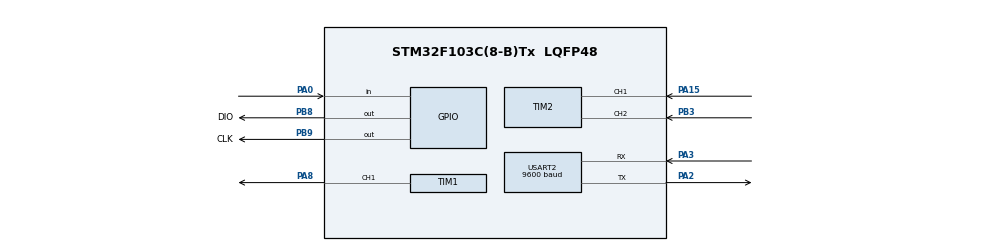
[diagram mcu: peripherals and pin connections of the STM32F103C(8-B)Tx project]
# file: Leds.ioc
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Mcu.Family=STM32F1
Mcu.Name=STM32F103C(8-B)Tx
Mcu.Package=LQFP48
NVIC.PriorityGroup=NVIC_PRIORITYGROUP_4
NVIC.TIM1_CC_IRQn=true\:0\:0\:false\:false\:true\:true\:true
PA0-WKUP.GPIO_PuPd=GPIO_PULLUP
PA0-WKUP.Signal=GPIO_Input
PA13.Mode=Serial_Wire
PA13.Signal=SYS_JTMS-SWDIO
PA14.Mode=Serial_Wire
PA14.Signal=SYS_JTCK-SWCLK
PA15.Signal=S_TIM2_CH1_ETR
PA2.Mode=Asynchronous
PA2.Signal=USART2_TX
PA3.Mode=Asynchronous
PA3.Signal=USART2_RX
PA8.Signal=S_TIM1_CH1
PB3.Signal=S_TIM2_CH2
PB8.GPIO_Label=DIO
PB8.GPIO_ModeDefaultOutputPP=GPIO_MODE_OUTPUT_OD
PB8.GPIO_PuPd=GPIO_PULLUP
PB8.Signal=GPIO_Output
PB9.GPIO_Label=CLK
PB9.GPIO_ModeDefaultOutputPP=GPIO_MODE_OUTPUT_OD
PB9.GPIO_PuPd=GPIO_PULLUP
PB9.Signal=GPIO_Output
PC14-OSC32_IN.Mode=LSE-External-Oscillator
PC14-OSC32_IN.Signal=RCC_OSC32_IN
PC15-OSC32_OUT.Mode=LSE-External-Oscillator
PC15-OSC32_OUT.Signal=RCC_OSC32_OUT
PD0-OSC_IN.Mode=HSE-External-Oscillator
PD0-OSC_IN.Signal=RCC_OSC_IN
PD1-OSC_OUT.Mode=HSE-External-Oscillator
PD1-OSC_OUT.Signal=RCC_OSC_OUT
ProjectManager.HeapSize=0x200
ProjectManager.StackSize=0x400
ProjectManager.TargetToolchain=STM32CubeIDE
RCC.APB1Freq_Value=8000000
RCC.APB2Freq_Value=8000000
RTC.Date=18
RTC.Format=RTC_FORMAT_BIN
RTC.Hours=10
RTC.Minutes=34
RTC.Month=RTC_MONTH_FEBRUARY
RTC.WeekDay=RTC_WEEKDAY_TUESDAY
RTC.Year=21
SH.S_TIM1_CH1.0=TIM1_CH1,PWM Generation1 CH1
SH.S_TIM2_CH1_ETR.0=TIM2_CH1,Encoder_Interface
SH.S_TIM2_CH2.0=TIM2_CH2,Encoder_Interface
TIM1.Channel-PWM\ Generation1\ CH1=TIM_CHANNEL_1
TIM1.Period=6000
TIM2.AutoReloadPreload=TIM_AUTORELOAD_PRELOAD_ENABLE
TIM2.EncoderMode=TIM_ENCODERMODE_TI12
TIM2.IC1Filter=10
TIM2.IC2Filter=10
USART2.BaudRate=9600
USART2.VirtualMode=VM_ASYNC
VP_RTC_VS_RTC_Activate.Mode=RTC_Enabled
VP_RTC_VS_RTC_Calendar.Mode=RTC_Calendar
VP_TIM1_VS_ClockSourceINT.Mode=Internal
board=custom

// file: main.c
/* USER CODE BEGIN Header */
/**
  ******************************************************************************
  * @file           : main.c
  * @brief          : Main program body
  ******************************************************************************
  * @attention
  *
  * <h2><center>&copy; Copyright (c) 2021 STMicroelectronics.
  * All rights reserved.</center></h2>
  *
  * This software component is licensed by ST under BSD 3-Clause license,
  * the "License"; You may not use this file except in compliance with the
  * License. You may obtain a copy of the License at:
  *                        opensource.org/licenses/BSD-3-Clause
  *
  ******************************************************************************
  */
/* USER CODE END Header */
#include <stdio.h>
#include "main.h"
/* USER CODE BEGIN Includes */
#include "delay_micros.h"
#include "tm1637.h"
/* USER CODE END Includes */

/* USER CODE BEGIN PTD */
typedef enum
{
  RELEASED = 0u,
  PRESSED
} ButtonState;

/* USER CODE END PTD */

RTC_HandleTypeDef hrtc;

TIM_HandleTypeDef htim1;
TIM_HandleTypeDef htim2;

UART_HandleTypeDef huart2;

void SystemClock_Config(void);
static void MX_GPIO_Init(void);
static void MX_TIM1_Init(void);
static void MX_TIM2_Init(void);
static void MX_RTC_Init(void);
static void MX_USART2_UART_Init(void);

/* USER CODE BEGIN PFP */
static void TM1637_start(void);
static void TM1637_stop(void);
/* USER CODE END PFP */

int main(void)
{
  /* USER CODE BEGIN 1 */
	uint8_t MSG[50] = {'\0'};
  /* USER CODE END 1 */

  /* MCU Configuration--------------------------------------------------------*/

  /* Reset of all peripherals, Initializes the Flash interface and the Systick. */
  HAL_Init();

  /* Configure the system clock */
  SystemClock_Config();

  /* Initialize all configured peripherals */
  MX_GPIO_Init();
  MX_TIM1_Init();
  MX_TIM2_Init();
  MX_RTC_Init();
  MX_USART2_UART_Init();
  /* USER CODE BEGIN 2 */
  HAL_TIM_Encoder_Start(&htim2, TIM_CHANNEL_ALL);
  HAL_TIM_PWM_Start(&htim1, TIM_CHANNEL_1);
  uint16_t LED_DutyCycle = 0;
	//uint16_t i = 0, d = 0;
	//ButtonState state = RELEASED;
  DWT_Init();
  set_brightness(7);
  clearDisplay();
  int8_t TimeDisp[4] = {0,};
  /* USER CODE END 2 */

  /* Infinite loop */
  /* USER CODE BEGIN WHILE */
	while (1)
	{
		if(TIM2->CNT < 1023)
		{
			LED_DutyCycle = (TIM2->CNT);
			HAL_Delay(10);
		}
		sprintf(MSG, "Encoder value: %d\n", LED_DutyCycle);
		HAL_UART_Transmit(&huart2, MSG, sizeof(MSG), 100);

		if(LED_DutyCycle < 10) {
			TimeDisp[0] = 0x7f;
			TimeDisp[1] = 0x7f;
			TimeDisp[2] = 0x7f;
			TimeDisp[3] = LED_DutyCycle;
			display_mass(TimeDisp);
			HAL_Delay(10);
		} else if(LED_DutyCycle < 100) {
			TimeDisp[0] = 0x7f;
			TimeDisp[1] = 0x7f;
			TimeDisp[2] = LED_DutyCycle/10;
			TimeDisp[3] = LED_DutyCycle%10;
			display_mass(TimeDisp);
			HAL_Delay(10);
		}

		//TimeDisp[2] = 23 / 10;
		//TimeDisp[3] = 23 % 10;
    /* USER CODE END WHILE */

    /* USER CODE BEGIN 3 */
		//if(TIM2->CNT < 1023)
		//{
		//	LED_DutyCycle = ((TIM2->CNT)<<6);
		//}
		//TIM1->CCR1 = LED_DutyCycle;
		//HAL_Delay(10);

			//UART MESSAGE
		//sprintf(MSG, "HELLO CRUEL WORLD\n");
		//HAL_UART_Transmit(&huart2, MSG, sizeof(MSG), 100);
	}
  /* USER CODE END 3 */
}

void SystemClock_Config(void)
{
  RCC_OscInitTypeDef RCC_OscInitStruct = {0};
  RCC_ClkInitTypeDef RCC_ClkInitStruct = {0};
  RCC_PeriphCLKInitTypeDef PeriphClkInit = {0};

  /** Initializes the RCC Oscillators according to the specified parameters
  * in the RCC_OscInitTypeDef structure.
  */
  RCC_OscInitStruct.OscillatorType = RCC_OSCILLATORTYPE_HSI|RCC_OSCILLATORTYPE_LSI;
  RCC_OscInitStruct.HSIState = RCC_HSI_ON;
  RCC_OscInitStruct.HSICalibrationValue = RCC_HSICALIBRATION_DEFAULT;
  RCC_OscInitStruct.LSIState = RCC_LSI_ON;
  RCC_OscInitStruct.PLL.PLLState = RCC_PLL_NONE;
  if (HAL_RCC_OscConfig(&RCC_OscInitStruct) != HAL_OK)
  {
    Error_Handler();
  }
  /** Initializes the CPU, AHB and APB buses clocks
  */
  RCC_ClkInitStruct.ClockType = RCC_CLOCKTYPE_HCLK|RCC_CLOCKTYPE_SYSCLK
                              |RCC_CLOCKTYPE_PCLK1|RCC_CLOCKTYPE_PCLK2;
  RCC_ClkInitStruct.SYSCLKSource = RCC_SYSCLKSOURCE_HSI;
  RCC_ClkInitStruct.AHBCLKDivider = RCC_SYSCLK_DIV1;
  RCC_ClkInitStruct.APB1CLKDivider = RCC_HCLK_DIV1;
  RCC_ClkInitStruct.APB2CLKDivider = RCC_HCLK_DIV1;

  if (HAL_RCC_ClockConfig(&RCC_ClkInitStruct, FLASH_LATENCY_0) != HAL_OK)
  {
    Error_Handler();
  }
  PeriphClkInit.PeriphClockSelection = RCC_PERIPHCLK_RTC;
  PeriphClkInit.RTCClockSelection = RCC_RTCCLKSOURCE_LSI;
  if (HAL_RCCEx_PeriphCLKConfig(&PeriphClkInit) != HAL_OK)
  {
    Error_Handler();
  }
}

static void MX_RTC_Init(void)
{

  RTC_TimeTypeDef sTime = {0};
  RTC_DateTypeDef DateToUpdate = {0};

  /** Initialize RTC Only
  */
  hrtc.Instance = RTC;
  hrtc.Init.AsynchPrediv = RTC_AUTO_1_SECOND;
  hrtc.Init.OutPut = RTC_OUTPUTSOURCE_ALARM;
  if (HAL_RTC_Init(&hrtc) != HAL_OK)
  {
    Error_Handler();
  }

  /** Initialize RTC and set the Time and Date
  */
  sTime.Hours = 10;
  sTime.Minutes = 34;
  sTime.Seconds = 0;

  if (HAL_RTC_SetTime(&hrtc, &sTime, RTC_FORMAT_BIN) != HAL_OK)
  {
    Error_Handler();
  }
  DateToUpdate.WeekDay = RTC_WEEKDAY_TUESDAY;
  DateToUpdate.Month = RTC_MONTH_FEBRUARY;
  DateToUpdate.Date = 18;
  DateToUpdate.Year = 21;

  if (HAL_RTC_SetDate(&hrtc, &DateToUpdate, RTC_FORMAT_BIN) != HAL_OK)
  {
    Error_Handler();
  }

}

static void MX_TIM1_Init(void)
{

  TIM_ClockConfigTypeDef sClockSourceConfig = {0};
  TIM_MasterConfigTypeDef sMasterConfig = {0};
  TIM_OC_InitTypeDef sConfigOC = {0};
  TIM_BreakDeadTimeConfigTypeDef sBreakDeadTimeConfig = {0};

  htim1.Instance = TIM1;
  htim1.Init.Prescaler = 0;
  htim1.Init.CounterMode = TIM_COUNTERMODE_UP;
  htim1.Init.Period = 6000;
  htim1.Init.ClockDivision = TIM_CLOCKDIVISION_DIV1;
  htim1.Init.RepetitionCounter = 0;
  htim1.Init.AutoReloadPreload = TIM_AUTORELOAD_PRELOAD_DISABLE;
  if (HAL_TIM_Base_Init(&htim1) != HAL_OK)
  {
    Error_Handler();
  }
  sClockSourceConfig.ClockSource = TIM_CLOCKSOURCE_INTERNAL;
  if (HAL_TIM_ConfigClockSource(&htim1, &sClockSourceConfig) != HAL_OK)
  {
    Error_Handler();
  }
  if (HAL_TIM_PWM_Init(&htim1) != HAL_OK)
  {
    Error_Handler();
  }
  sMasterConfig.MasterOutputTrigger = TIM_TRGO_RESET;
  sMasterConfig.MasterSlaveMode = TIM_MASTERSLAVEMODE_DISABLE;
  if (HAL_TIMEx_MasterConfigSynchronization(&htim1, &sMasterConfig) != HAL_OK)
  {
    Error_Handler();
  }
  sConfigOC.OCMode = TIM_OCMODE_PWM1;
  sConfigOC.Pulse = 0;
  sConfigOC.OCPolarity = TIM_OCPOLARITY_HIGH;
  sConfigOC.OCNPolarity = TIM_OCNPOLARITY_HIGH;
  sConfigOC.OCFastMode = TIM_OCFAST_DISABLE;
  sConfigOC.OCIdleState = TIM_OCIDLESTATE_RESET;
  sConfigOC.OCNIdleState = TIM_OCNIDLESTATE_RESET;
  if (HAL_TIM_PWM_ConfigChannel(&htim1, &sConfigOC, TIM_CHANNEL_1) != HAL_OK)
  {
    Error_Handler();
  }
  sBreakDeadTimeConfig.OffStateRunMode = TIM_OSSR_DISABLE;
  sBreakDeadTimeConfig.OffStateIDLEMode = TIM_OSSI_DISABLE;
  sBreakDeadTimeConfig.LockLevel = TIM_LOCKLEVEL_OFF;
  sBreakDeadTimeConfig.DeadTime = 0;
  sBreakDeadTimeConfig.BreakState = TIM_BREAK_DISABLE;
  sBreakDeadTimeConfig.BreakPolarity = TIM_BREAKPOLARITY_HIGH;
  sBreakDeadTimeConfig.AutomaticOutput = TIM_AUTOMATICOUTPUT_DISABLE;
  if (HAL_TIMEx_ConfigBreakDeadTime(&htim1, &sBreakDeadTimeConfig) != HAL_OK)
  {
    Error_Handler();
  }
  HAL_TIM_MspPostInit(&htim1);

}

static void MX_TIM2_Init(void)
{

  TIM_Encoder_InitTypeDef sConfig = {0};
  TIM_MasterConfigTypeDef sMasterConfig = {0};

  htim2.Instance = TIM2;
  htim2.Init.Prescaler = 0;
  htim2.Init.CounterMode = TIM_COUNTERMODE_UP;
  htim2.Init.Period = 65535;
  htim2.Init.ClockDivision = TIM_CLOCKDIVISION_DIV1;
  htim2.Init.AutoReloadPreload = TIM_AUTORELOAD_PRELOAD_ENABLE;
  sConfig.EncoderMode = TIM_ENCODERMODE_TI12;
  sConfig.IC1Polarity = TIM_ICPOLARITY_RISING;
  sConfig.IC1Selection = TIM_ICSELECTION_DIRECTTI;
  sConfig.IC1Prescaler = TIM_ICPSC_DIV1;
  sConfig.IC1Filter = 10;
  sConfig.IC2Polarity = TIM_ICPOLARITY_RISING;
  sConfig.IC2Selection = TIM_ICSELECTION_DIRECTTI;
  sConfig.IC2Prescaler = TIM_ICPSC_DIV1;
  sConfig.IC2Filter = 10;
  if (HAL_TIM_Encoder_Init(&htim2, &sConfig) != HAL_OK)
  {
    Error_Handler();
  }
  sMasterConfig.MasterOutputTrigger = TIM_TRGO_RESET;
  sMasterConfig.MasterSlaveMode = TIM_MASTERSLAVEMODE_DISABLE;
  if (HAL_TIMEx_MasterConfigSynchronization(&htim2, &sMasterConfig) != HAL_OK)
  {
    Error_Handler();
  }

}

static void MX_USART2_UART_Init(void)
{

  huart2.Instance = USART2;
  huart2.Init.BaudRate = 9600;
  huart2.Init.WordLength = UART_WORDLENGTH_8B;
  huart2.Init.StopBits = UART_STOPBITS_1;
  huart2.Init.Parity = UART_PARITY_NONE;
  huart2.Init.Mode = UART_MODE_TX_RX;
  huart2.Init.HwFlowCtl = UART_HWCONTROL_NONE;
  huart2.Init.OverSampling = UART_OVERSAMPLING_16;
  if (HAL_UART_Init(&huart2) != HAL_OK)
  {
    Error_Handler();
  }

}

static void MX_GPIO_Init(void)
{
  GPIO_InitTypeDef GPIO_InitStruct = {0};

  /* GPIO Ports Clock Enable */
  __HAL_RCC_GPIOC_CLK_ENABLE();
  __HAL_RCC_GPIOD_CLK_ENABLE();
  __HAL_RCC_GPIOA_CLK_ENABLE();
  __HAL_RCC_GPIOB_CLK_ENABLE();

  /*Configure GPIO pin Output Level */
  HAL_GPIO_WritePin(GPIOB, DIO_Pin|CLK_Pin, GPIO_PIN_RESET);

  /*Configure GPIO pin : PA0 */
  GPIO_InitStruct.Pin = GPIO_PIN_0;
  GPIO_InitStruct.Mode = GPIO_MODE_INPUT;
  GPIO_InitStruct.Pull = GPIO_PULLUP;
  HAL_GPIO_Init(GPIOA, &GPIO_InitStruct);

  /*Configure GPIO pins : DIO_Pin CLK_Pin */
  GPIO_InitStruct.Pin = DIO_Pin|CLK_Pin;
  GPIO_InitStruct.Mode = GPIO_MODE_OUTPUT_OD;
  GPIO_InitStruct.Pull = GPIO_PULLUP;
  GPIO_InitStruct.Speed = GPIO_SPEED_FREQ_LOW;
  HAL_GPIO_Init(GPIOB, &GPIO_InitStruct);

}

void Error_Handler(void)
{
  __disable_irq();
  while (1)
  {
  }
}

/************************ (C) COPYRIGHT STMicroelectronics *****END OF FILE****/
